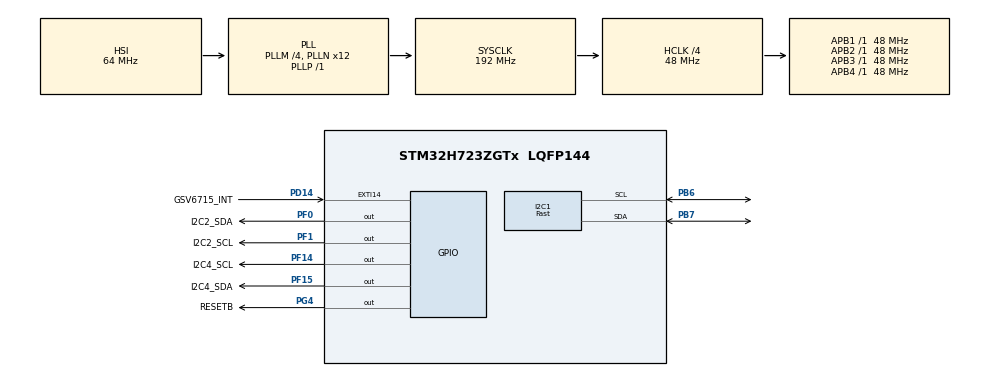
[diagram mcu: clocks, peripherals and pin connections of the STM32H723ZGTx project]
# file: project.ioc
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I2C1.I2C_Speed_Mode=I2C_Fast
I2C1.Timing=0x0040154C
Mcu.Family=STM32H7
Mcu.Name=STM32H723ZGTx
Mcu.Package=LQFP144
NVIC.EXTI15_10_IRQn=true\:0\:0\:false\:false\:true\:true\:true\:true
NVIC.PriorityGroup=NVIC_PRIORITYGROUP_4
PA13(JTMS/SWDIO).Mode=Serial_Wire
PA13(JTMS/SWDIO).Signal=DEBUG_JTMS-SWDIO
PA14(JTCK/SWCLK).Mode=Serial_Wire
PA14(JTCK/SWCLK).Signal=DEBUG_JTCK-SWCLK
PB6.Mode=I2C
PB6.Signal=I2C1_SCL
PB7.Mode=I2C
PB7.Signal=I2C1_SDA
PD14.GPIO_Label=GSV6715_INT
PD14.GPIO_ModeDefaultEXTI=GPIO_MODE_IT_RISING_FALLING
PD14.Signal=GPXTI14
PF0.GPIO_Label=I2C2_SDA
PF0.GPIO_ModeDefaultOutputPP=GPIO_MODE_OUTPUT_OD
PF0.GPIO_PuPd=GPIO_NOPULL
PF0.GPIO_Speed=GPIO_SPEED_FREQ_VERY_HIGH
PF0.PinState=GPIO_PIN_SET
PF0.Signal=GPIO_Output
PF1.GPIO_Label=I2C2_SCL
PF1.GPIO_ModeDefaultOutputPP=GPIO_MODE_OUTPUT_OD
PF1.GPIO_PuPd=GPIO_NOPULL
PF1.GPIO_Speed=GPIO_SPEED_FREQ_VERY_HIGH
PF1.PinState=GPIO_PIN_SET
PF1.Signal=GPIO_Output
PF14.GPIO_Label=I2C4_SCL
PF14.GPIO_ModeDefaultOutputPP=GPIO_MODE_OUTPUT_OD
PF14.GPIO_PuPd=GPIO_NOPULL
PF14.GPIO_Speed=GPIO_SPEED_FREQ_VERY_HIGH
PF14.PinState=GPIO_PIN_SET
PF14.Signal=GPIO_Output
PF15.GPIO_Label=I2C4_SDA
PF15.GPIO_ModeDefaultOutputPP=GPIO_MODE_OUTPUT_OD
PF15.GPIO_PuPd=GPIO_NOPULL
PF15.GPIO_Speed=GPIO_SPEED_FREQ_VERY_HIGH
PF15.PinState=GPIO_PIN_SET
PF15.Signal=GPIO_Output
PG4.GPIO_Label=RESETB
PG4.GPIO_ModeDefaultOutputPP=GPIO_MODE_OUTPUT_OD
PG4.GPIO_PuPd=GPIO_NOPULL
PG4.GPIO_Speed=GPIO_SPEED_FREQ_LOW
PG4.PinState=GPIO_PIN_SET
PG4.Signal=GPIO_Output
PH0-OSC_IN.Mode=HSE-External-Oscillator
PH0-OSC_IN.Signal=RCC_OSC_IN
PH1-OSC_OUT.Mode=HSE-External-Oscillator
PH1-OSC_OUT.Signal=RCC_OSC_OUT
ProjectManager.HeapSize=0x0000
ProjectManager.StackSize=0x1400
ProjectManager.TargetToolchain=MDK-ARM V5
RCC.ADCFreq_Value=129000000
RCC.APB1Freq_Value=48000000
RCC.APB2Freq_Value=48000000
RCC.APB3Freq_Value=48000000
RCC.APB4Freq_Value=48000000
RCC.CortexFreq_Value=48000000
RCC.D1CPRE=RCC_SYSCLK_DIV4
RCC.DIVM1=4
RCC.DIVN1=12
RCC.DIVP1=1
RCC.DIVR3=6
RCC.HCLKFreq_Value=48000000
RCC.I2C123CLockSelection=RCC_I2C1235CLKSOURCE_PLL3
RCC.PLL2FRACN=0
RCC.PLL3FRACN=0
RCC.PLLFRACN=0
RCC.SYSCLKFreq_VALUE=192000000
RCC.SYSCLKSource=RCC_SYSCLKSOURCE_PLLCLK
RCC.USBFreq_Value=96000000
VP_MEMORYMAP_VS_MEMORYMAP.Mode=CurAppReg
board=custom

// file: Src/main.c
/* USER CODE BEGIN Header */
/**
  ******************************************************************************
  * @file           : main.c
  * @brief          : Main program body
  ******************************************************************************
  * @attention
  *
  * Copyright (c) 2026 STMicroelectronics.
  * All rights reserved.
  *
  * This software is licensed under terms that can be found in the LICENSE file
  * in the root directory of this software component.
  * If no LICENSE file comes with this software, it is provided AS-IS.
  *
  ******************************************************************************
  */
/* USER CODE END Header */
#include "main.h"

/* USER CODE BEGIN Includes */
#include "SEGGER_RTT.h"
#include "av_main.h"
#include "hal.h"
/* USER CODE END Includes */

I2C_HandleTypeDef hi2c1;

/* USER CODE BEGIN PV */
#if _DEBUG_GSV6715_EXTI
uint8_t gsv6715Rising;
uint8_t gsv6715Falling;
#endif /* _DEBUG_GSV6715_EXTI */
/* USER CODE END PV */

void SystemClock_Config(void);
static void MX_GPIO_Init(void);
static void MX_I2C1_Init(void);

int main(void)
{

  /* USER CODE BEGIN 1 */
  uint32 i;
  /* USER CODE END 1 */

  /* MCU Configuration--------------------------------------------------------*/

  /* Reset of all peripherals, Initializes the Flash interface and the Systick. */
  HAL_Init();

  /* Configure the system clock */
  SystemClock_Config();

  /* Initialize all configured peripherals */
  MX_GPIO_Init();
  MX_I2C1_Init();
  /* USER CODE BEGIN 2 */
  SEGGER_RTT_Init();
  SEGGER_RTT_printf(0, "Segger Rtt Initialized\n");
  HAL_GPIO_WritePin(RESETB_GPIO_Port, RESETB_Pin, GPIO_PIN_SET);
  for(i=0;i<0x3ffff;i++);
  HAL_GPIO_WritePin(RESETB_GPIO_Port, RESETB_Pin, GPIO_PIN_RESET);
  for(i=0;i<0x3ffff;i++);
  HAL_GPIO_WritePin(RESETB_GPIO_Port, RESETB_Pin, GPIO_PIN_SET);
  GsvMain();
  /* USER CODE END 2 */

  /* Infinite loop */
  while (1)
  {

  }
}

void SystemClock_Config(void)
{
  RCC_OscInitTypeDef RCC_OscInitStruct = {0};
  RCC_ClkInitTypeDef RCC_ClkInitStruct = {0};

  /** Supply configuration update enable
  */
  HAL_PWREx_ConfigSupply(PWR_LDO_SUPPLY);

  /** Configure the main internal regulator output voltage
  */
  __HAL_PWR_VOLTAGESCALING_CONFIG(PWR_REGULATOR_VOLTAGE_SCALE3);

  while(!__HAL_PWR_GET_FLAG(PWR_FLAG_VOSRDY)) {}

  /** Initializes the RCC Oscillators according to the specified parameters
  * in the RCC_OscInitTypeDef structure.
  */
  RCC_OscInitStruct.OscillatorType = RCC_OSCILLATORTYPE_HSI;
  RCC_OscInitStruct.HSIState = RCC_HSI_DIV1;
  RCC_OscInitStruct.HSICalibrationValue = 64;
  RCC_OscInitStruct.PLL.PLLState = RCC_PLL_ON;
  RCC_OscInitStruct.PLL.PLLSource = RCC_PLLSOURCE_HSI;
  RCC_OscInitStruct.PLL.PLLM = 4;
  RCC_OscInitStruct.PLL.PLLN = 12;
  RCC_OscInitStruct.PLL.PLLP = 1;
  RCC_OscInitStruct.PLL.PLLQ = 2;
  RCC_OscInitStruct.PLL.PLLR = 2;
  RCC_OscInitStruct.PLL.PLLRGE = RCC_PLL1VCIRANGE_3;
  RCC_OscInitStruct.PLL.PLLVCOSEL = RCC_PLL1VCOWIDE;
  RCC_OscInitStruct.PLL.PLLFRACN = 0;
  if (HAL_RCC_OscConfig(&RCC_OscInitStruct) != HAL_OK)
  {
    Error_Handler();
  }

  /** Initializes the CPU, AHB and APB buses clocks
  */
  RCC_ClkInitStruct.ClockType = RCC_CLOCKTYPE_HCLK|RCC_CLOCKTYPE_SYSCLK
                              |RCC_CLOCKTYPE_PCLK1|RCC_CLOCKTYPE_PCLK2
                              |RCC_CLOCKTYPE_D3PCLK1|RCC_CLOCKTYPE_D1PCLK1;
  RCC_ClkInitStruct.SYSCLKSource = RCC_SYSCLKSOURCE_PLLCLK;
  RCC_ClkInitStruct.SYSCLKDivider = RCC_SYSCLK_DIV4;
  RCC_ClkInitStruct.AHBCLKDivider = RCC_HCLK_DIV1;
  RCC_ClkInitStruct.APB3CLKDivider = RCC_APB3_DIV1;
  RCC_ClkInitStruct.APB1CLKDivider = RCC_APB1_DIV1;
  RCC_ClkInitStruct.APB2CLKDivider = RCC_APB2_DIV1;
  RCC_ClkInitStruct.APB4CLKDivider = RCC_APB4_DIV1;

  if (HAL_RCC_ClockConfig(&RCC_ClkInitStruct, FLASH_LATENCY_1) != HAL_OK)
  {
    Error_Handler();
  }
}

static void MX_I2C1_Init(void)
{

  hi2c1.Instance = I2C1;
  hi2c1.Init.Timing = 0x0040154C;
  hi2c1.Init.OwnAddress1 = 0;
  hi2c1.Init.AddressingMode = I2C_ADDRESSINGMODE_7BIT;
  hi2c1.Init.DualAddressMode = I2C_DUALADDRESS_DISABLE;
  hi2c1.Init.OwnAddress2 = 0;
  hi2c1.Init.OwnAddress2Masks = I2C_OA2_NOMASK;
  hi2c1.Init.GeneralCallMode = I2C_GENERALCALL_DISABLE;
  hi2c1.Init.NoStretchMode = I2C_NOSTRETCH_DISABLE;
  if (HAL_I2C_Init(&hi2c1) != HAL_OK)
  {
    Error_Handler();
  }

  /** Configure Analogue filter
  */
  if (HAL_I2CEx_ConfigAnalogFilter(&hi2c1, I2C_ANALOGFILTER_ENABLE) != HAL_OK)
  {
    Error_Handler();
  }

  /** Configure Digital filter
  */
  if (HAL_I2CEx_ConfigDigitalFilter(&hi2c1, 0) != HAL_OK)
  {
    Error_Handler();
  }

}

static void MX_GPIO_Init(void)
{
  GPIO_InitTypeDef GPIO_InitStruct = {0};

  /* GPIO Ports Clock Enable */
  __HAL_RCC_GPIOF_CLK_ENABLE();
  __HAL_RCC_GPIOH_CLK_ENABLE();
  __HAL_RCC_GPIOD_CLK_ENABLE();
  __HAL_RCC_GPIOG_CLK_ENABLE();
  __HAL_RCC_GPIOA_CLK_ENABLE();
  __HAL_RCC_GPIOB_CLK_ENABLE();

  /*Configure GPIO pin Output Level */
  HAL_GPIO_WritePin(GPIOF, I2C2_SDA_Pin|I2C2_SCL_Pin|I2C4_SCL_Pin|I2C4_SDA_Pin, GPIO_PIN_SET);

  /*Configure GPIO pin Output Level */
  HAL_GPIO_WritePin(RESETB_GPIO_Port, RESETB_Pin, GPIO_PIN_SET);

  /*Configure GPIO pins : I2C2_SDA_Pin I2C2_SCL_Pin I2C4_SCL_Pin I2C4_SDA_Pin */
  GPIO_InitStruct.Pin = I2C2_SDA_Pin|I2C2_SCL_Pin|I2C4_SCL_Pin|I2C4_SDA_Pin;
  GPIO_InitStruct.Mode = GPIO_MODE_OUTPUT_OD;
  GPIO_InitStruct.Pull = GPIO_NOPULL;
  GPIO_InitStruct.Speed = GPIO_SPEED_FREQ_VERY_HIGH;
  HAL_GPIO_Init(GPIOF, &GPIO_InitStruct);

  /*Configure GPIO pin : GSV6715_INT_Pin */
  GPIO_InitStruct.Pin = GSV6715_INT_Pin;
  GPIO_InitStruct.Mode = GPIO_MODE_IT_RISING_FALLING;
  GPIO_InitStruct.Pull = GPIO_NOPULL;
  HAL_GPIO_Init(GSV6715_INT_GPIO_Port, &GPIO_InitStruct);

  /*Configure GPIO pin : RESETB_Pin */
  GPIO_InitStruct.Pin = RESETB_Pin;
  GPIO_InitStruct.Mode = GPIO_MODE_OUTPUT_OD;
  GPIO_InitStruct.Pull = GPIO_NOPULL;
  GPIO_InitStruct.Speed = GPIO_SPEED_FREQ_LOW;
  HAL_GPIO_Init(RESETB_GPIO_Port, &GPIO_InitStruct);

  /* EXTI interrupt init*/
  HAL_NVIC_SetPriority(GSV6715_INT_EXTI_IRQn, 0, 0);
  HAL_NVIC_EnableIRQ(GSV6715_INT_EXTI_IRQn);

}

/* USER CODE BEGIN 4 */
#if _DEBUG_GSV6715_EXTI
void HAL_GPIO_EXTI_Callback(uint16_t GPIO_Pin){

  if (GPIO_Pin == GSV6715_INT_Pin){

    if (HAL_GPIO_ReadPin(GSV6715_INT_GPIO_Port, GSV6715_INT_Pin) == GPIO_PIN_SET){
      gsv6715Rising = 1;
    }
    else {
      gsv6715Falling = 1;
    }
  }
}
#endif /* _DEBUG_GSV6715_EXTI */
/* USER CODE END 4 */

void Error_Handler(void)
{
  __disable_irq();
  while (1)
  {
  }
}
